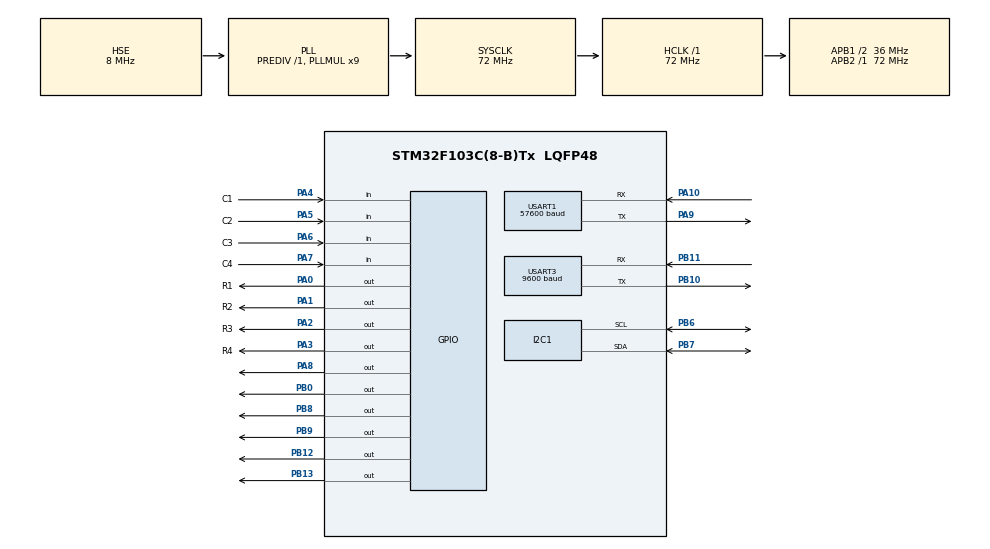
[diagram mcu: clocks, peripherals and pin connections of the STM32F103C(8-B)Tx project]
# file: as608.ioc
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Mcu.Family=STM32F1
Mcu.Name=STM32F103C(8-B)Tx
Mcu.Package=LQFP48
NVIC.PriorityGroup=NVIC_PRIORITYGROUP_4
NVIC.USART1_IRQn=true\:0\:0\:false\:false\:true\:true\:true\:true
PA0-WKUP.GPIO_Label=R1
PA0-WKUP.Signal=GPIO_Output
PA1.GPIO_Label=R2
PA1.Signal=GPIO_Output
PA10.Mode=Asynchronous
PA10.Signal=USART1_RX
PA13.Mode=Serial_Wire
PA13.Signal=SYS_JTMS-SWDIO
PA14.Mode=Serial_Wire
PA14.Signal=SYS_JTCK-SWCLK
PA2.GPIO_Label=R3
PA2.Signal=GPIO_Output
PA3.GPIO_Label=R4
PA3.Signal=GPIO_Output
PA4.GPIO_Label=C1
PA4.GPIO_PuPd=GPIO_PULLUP
PA4.Signal=GPIO_Input
PA5.GPIO_Label=C2
PA5.GPIO_PuPd=GPIO_PULLUP
PA5.Signal=GPIO_Input
PA6.GPIO_Label=C3
PA6.GPIO_PuPd=GPIO_PULLUP
PA6.Signal=GPIO_Input
PA7.GPIO_Label=C4
PA7.GPIO_PuPd=GPIO_PULLUP
PA7.Signal=GPIO_Input
PA8.Signal=GPIO_Output
PA9.Mode=Asynchronous
PA9.Signal=USART1_TX
PB0.Signal=GPIO_Output
PB10.Mode=Asynchronous
PB10.Signal=USART3_TX
PB11.Mode=Asynchronous
PB11.Signal=USART3_RX
PB12.Signal=GPIO_Output
PB13.Signal=GPIO_Output
PB6.Mode=I2C
PB6.Signal=I2C1_SCL
PB7.Mode=I2C
PB7.Signal=I2C1_SDA
PB8.Signal=GPIO_Output
PB9.Signal=GPIO_Output
PD0-OSC_IN.Mode=HSE-External-Oscillator
PD0-OSC_IN.Signal=RCC_OSC_IN
PD1-OSC_OUT.Mode=HSE-External-Oscillator
PD1-OSC_OUT.Signal=RCC_OSC_OUT
ProjectManager.HeapSize=0x200
ProjectManager.StackSize=0x400
ProjectManager.TargetToolchain=STM32CubeIDE
RCC.AHBFreq_Value=72000000
RCC.APB1CLKDivider=RCC_HCLK_DIV2
RCC.APB1Freq_Value=36000000
RCC.APB1TimFreq_Value=72000000
RCC.APB2Freq_Value=72000000
RCC.APB2TimFreq_Value=72000000
RCC.HCLKFreq_Value=72000000
RCC.PLLMUL=RCC_PLL_MUL9
RCC.PLLSourceVirtual=RCC_PLLSOURCE_HSE
RCC.SYSCLKFreq_VALUE=72000000
RCC.SYSCLKSource=RCC_SYSCLKSOURCE_PLLCLK
RCC.USBFreq_Value=72000000
USART1.BaudRate=57600
USART1.VirtualMode=VM_ASYNC
USART3.BaudRate=9600
USART3.VirtualMode=VM_ASYNC
VP_RTC_VS_RTC_Activate.Mode=RTC_Enabled
VP_RTC_VS_RTC_Calendar.Mode=RTC_Calendar
VP_TIM2_VS_ClockSourceINT.Mode=Internal
board=custom

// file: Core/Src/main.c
/* USER CODE BEGIN Header */
/**
  ******************************************************************************
  * @file           : main.c
  * @brief          : Main program body
  ******************************************************************************
  * @attention
  *
  * Copyright (c) 2026 STMicroelectronics.
  * All rights reserved.
  *
  * This software is licensed under terms that can be found in the LICENSE file
  * in the root directory of this software component.
  * If no LICENSE file comes with this software, it is provided AS-IS.
  *
  ******************************************************************************
  */
/* USER CODE END Header */
#include "main.h"
#include "i2c.h"
#include "rtc.h"
#include "tim.h"
#include "usart.h"
#include "gpio.h"

/* USER CODE BEGIN Includes */
#include "AS608.h"
#include "oled.h"
#include "key.h"
#include <string.h>
#include <stdio.h>

extern uint16_t MYRTC_Time[6];
extern void MYRTC_ReadTime(void);
extern void MYRTC_SetTime(void);
extern void OLED_ShowTime(void);

/* USER CODE END Includes */

/* USER CODE BEGIN PD */

#define AT24C32_ADDR    0x57
#define HAL_AT24C32_ADDR (AT24C32_ADDR << 1)
#define RECORD_COUNT_ADDR 0x0000// EEPROM地址0x0000存储记录数
#define RECORD_DATA_START 0x0002// 记录数据从地址0x0002开始存储，每条记录6字节（ID:2字节，时间戳:4字节）
#define DURATION_START_ADDR 0x0E00// EEPROM地址0x0E00开始存储累计时长，每个ID占4字节，支持最多512个ID的累计时长存储
#define BT_RX_BUF_SIZE 64

typedef struct {
    uint16_t id;
    uint32_t timestamp;  // 打卡时间戳(秒)
    uint8_t type;        // 打卡类型 0:上班 1:下班
} __attribute__((packed)) Record_t;

// 计算两次打卡的时间差
uint32_t CalculateTimeDifference(uint32_t check_in, uint32_t check_out) {

    if(check_in > check_out) return 0;

    // 防止溢出，如果差超过24小时(86400秒)则认为异常返回0
    uint32_t diff = check_out - check_in;
    return (diff > 86400) ? 0 : diff;
}

// 获取当前时间戳
uint32_t GetCurrentTimestamp(void) {
    return HAL_RTCEx_GetTimeStamp(&hrtc);
}

// 保存总时长到EEPROM
void SaveTotalDuration(uint16_t id, uint32_t duration)
{
    uint16_t addr = DURATION_START_ADDR + id * 4;
    uint8_t buf[4];

    buf[0] = (duration >> 24) & 0xFF;
    buf[1] = (duration >> 16) & 0xFF;
    buf[2] = (duration >> 8) & 0xFF;
    buf[3] = duration & 0xFF;

    HAL_I2C_Mem_Write(&hi2c1, HAL_AT24C32_ADDR, addr, I2C_MEMADD_SIZE_16BIT, buf, 4, 100);

    HAL_Delay(10);
}

// 从EEPROM读取总时长
uint32_t ReadTotalDuration(uint16_t id) {
    uint16_t addr = DURATION_START_ADDR + id * 4;
    uint8_t buf[4];

    HAL_I2C_Mem_Read(&hi2c1, HAL_AT24C32_ADDR, addr, I2C_MEMADD_SIZE_16BIT, buf, 4, 100);
    return (buf[0] << 24) | (buf[1] << 16) | (buf[2] << 8) | buf[3];
}

// 累计指纹ID的总工作时长
void AccumulateDuration(uint16_t id, uint32_t duration_seconds) {
    uint32_t current_total = 0;
    uint16_t addr = DURATION_START_ADDR + id * 4;

    // 读取现有的总时长
    uint8_t buf[4];
    HAL_I2C_Mem_Read(&hi2c1, HAL_AT24C32_ADDR, addr, I2C_MEMADD_SIZE_16BIT, buf, 4, 100);
    current_total = (buf[0] << 24) | (buf[1] << 16) | (buf[2] << 8) | buf[3];

    current_total += duration_seconds;

    buf[0] = (current_total >> 24) & 0xFF;
    buf[1] = (current_total >> 16) & 0xFF;
    buf[2] = (current_total >> 8) & 0xFF;
    buf[3] = current_total & 0xFF;

    for(uint8_t i=0; i<4; i++) {
        AT24C32_WriteByte(addr+i, buf[i]);
        HAL_Delay(5);
    }
}
/* USER CODE END PD */

/* USER CODE BEGIN PV */
SysPara AS608Para;                // 指纹模块参数
uint16_t ValidN;                   // 模块内有效模板个数
uint16_t recordCount = 0;          // EEPROM记录数

uint8_t aRxBuffer[RXBUFFERSIZE];   // AS608 接收缓冲区
uint8_t RX_len;                     // AS608 接收字节计数

uint8_t bt_rx_buf[BT_RX_BUF_SIZE]; // 蓝牙接收缓冲区
uint8_t bt_rx_len = 0;
uint8_t bt_rx_complete = 0;
uint8_t bt_rx_byte;

extern UART_HandleTypeDef huart3;  // 蓝牙串口句柄
/* USER CODE END PV */

void SystemClock_Config(void);
/* USER CODE BEGIN PFP */
void Menu_ShowMain(void);
void Process_AddFR(void);
void Process_DelFR(void);
void Process_ModName(void);
void Process_ListFR(void);
void Process_ChangePwd(void);
void Process_EmptyFR(void);
void Bluetooth_Init(void);
void Bluetooth_Process(void);
void Send_All_Ranks_To_Bluetooth(void);
void UI_DrawMenu(void);
void InitAdminPassword(void);
void Process_ResetTime(void);

// EEPROM 相关函数（若不需要可注释）
uint8_t AT24C32_ReadByte(uint16_t addr);
void AT24C32_WriteRecord(uint16_t index, Record_t *rec);
Record_t AT24C32_ReadRecord(uint16_t index);
uint8_t SaveRecord(uint16_t id);
uint8_t IsSameDay(uint32_t t1, uint32_t t2);
uint8_t AT24C32_Check(void);
void Send_Duration_To_Bluetooth(uint16_t id);
/* USER CODE END PFP */

/* USER CODE BEGIN 0 */

// AS608 空闲中断接收处理
// 这个函数在 USART1 的中断服务程序里被调用
// 只要 USART1 收到数据并触发空闲中断，就会调用
// 这个函数的设计原则是：一旦 USART1 收到数据并触发空闲中断，就立刻处理接收的数据，确保 AS608 的通信不会因为异常数据而死锁
// 这个函数的核心是：先清除空闲中断标志，再读取接收长度，最后重置接收状态，准备下一次接收
void UsartReceive_IDLE(UART_HandleTypeDef *huart)
{
  if (huart->Instance == USART1) {
    // 清除空闲中断标志
    // 关键：必须先清除标志，再读取接收长度，否则可能会死锁！
    __HAL_UART_CLEAR_IDLEFLAG(&huart1);

    RX_len = RXBUFFERSIZE - huart1.RxXferCount;

    HAL_UART_AbortReceive_IT(&huart1);

    HAL_UART_Receive_IT(&huart1, aRxBuffer, RXBUFFERSIZE);
  }
}

//  录指纹函数
void Add_FR(char *name)
{
  uint8_t i = 0, ensure, processnum = 0;
  uint16_t ID;

  while (1)
  {
    switch (processnum)
    {
      case 0:
        i++;
        OLED_Clear();
        OLED_ShowCHinese(18,0,0); // 指
        OLED_ShowCHinese(36,0,1); // 纹
        OLED_ShowCHinese(54,0,2); // 打
        OLED_ShowCHinese(72,0,3); // 卡
        OLED_ShowCHinese(90,0,4); // 机
        OLED_ShowTime();
        OLED_ShowCHinese(36,3,5); // 请
        OLED_ShowCHinese(52,3,6); // 按
        OLED_ShowCHinese(68,3,7); // 手
        OLED_ShowCHinese(84,3,8); // 指

        ensure = GZ_GetImage();
        if (ensure == 0x00)
        {
          ensure = GZ_GenChar(CharBuffer1);
          if (ensure == 0x00)
          {
            i = 0;
            processnum = 1;
          }
        }
        break;
      case 1:
        i++;
        OLED_Clear();
        OLED_ShowCHinese(18,0,0); // 指
        OLED_ShowCHinese(36,0,1); // 纹
        OLED_ShowCHinese(54,0,2); // 打
        OLED_ShowCHinese(72,0,3); // 卡
        OLED_ShowCHinese(90,0,4); // 机
        OLED_ShowTime();
        OLED_ShowCHinese(52,3,5); // 请
        OLED_ShowCHinese(68,3,6); // 按

        ensure = GZ_GetImage();
        if (ensure == 0x00) {
          ensure = GZ_GenChar(CharBuffer2);
          if (ensure == 0x00) {
            i = 0;
            processnum = 2;
          }
        }
        break;
      case 2:
        OLED_Clear();
        OLED_ShowCHinese(18,0,0); // 指
        OLED_ShowCHinese(36,0,1); // 纹
        OLED_ShowCHinese(54,0,2); // 打
        OLED_ShowCHinese(72,0,3); // 卡
        OLED_ShowCHinese(90,0,4); // 机
        OLED_ShowTime();
        OLED_ShowCHinese(36,3,21); // 匹
        OLED_ShowCHinese(52,3,22); // 配
        OLED_ShowCHinese(68,3,11); // 成
        OLED_ShowCHinese(84,3,12); // 功
        ensure = GZ_Match();
        if (ensure == 0x00) processnum = 3;
        else {
          i = 0;
          processnum = 0;
        }
        HAL_Delay(1000);
        break;
      case 3:
        OLED_Clear();
        OLED_ShowCHinese(18,0,0); // 指
        OLED_ShowCHinese(36,0,1); // 纹
        OLED_ShowCHinese(54,0,2); // 打
        OLED_ShowCHinese(72,0,3); // 卡
        OLED_ShowCHinese(90,0,4); // 机
        OLED_ShowCHinese(52,3,5); // 请
        OLED_ShowCHinese(68,3,35); // 稍
        OLED_ShowCHinese(68,3,36); // 等
        OLED_ShowTime();

        ensure = GZ_RegModel();
        if (ensure == 0x00) processnum = 4;
        else processnum = 0;
        HAL_Delay(1000);
        break;
      case 4:
        OLED_Clear();
        OLED_ShowCHinese(18,0,0); // 指
        OLED_ShowCHinese(36,0,1); // 纹
        OLED_ShowCHinese(54,0,2); // 打
        OLED_ShowCHinese(72,0,3); // 卡
        OLED_ShowCHinese(90,0,4); // 机
        OLED_ShowCHinese(52,3,5); // 请
        OLED_ShowCHinese(68,3,35); // 稍
        OLED_ShowCHinese(68,3,36); // 等
        OLED_ShowTime();

        ID = ValidN + 1;
        // 1. 先把指纹特征存进模块
        ensure = GZ_StoreChar(CharBuffer2, ID);
        if (ensure == 0x00)
        {
            // 存储名字到记事本
            if (ID <= 15)
            {

               HAL_Delay(300);

               uint8_t buf[32] = {0};
               uint8_t len = 0;
               while (name[len] != 0 && len < 31)
               {
                   buf[len] = name[len];
                    len++;
                }

                // 写记事本并获取结果
                uint8_t write_res = GZ_WriteNotepad(ID, buf);

                OLED_ShowCHinese(0,2,19); // 指
                OLED_ShowCHinese(16,2,20); // 纹
                OLED_ShowString(32, 2, (uint8_t*)"ID:");

                uint8_t digits = (ID >= 100) ? 3 : (ID >= 10 ? 2 : 1);
                OLED_ShowNum(60, 2, ID, digits, 16);

                if (write_res == 0x00)
                {
                  OLED_ShowCHinese(68,3,11); // 成
                  OLED_ShowCHinese(84,3,12); // 功
                } else
                {
                    OLED_ShowCHinese(52,3,23); // 错
                    OLED_ShowCHinese(68,3,24); // 误
                }

                HAL_Delay(2000);
             }

             OLED_Clear();
             OLED_ShowCHinese(36,3,9);  // 录
             OLED_ShowCHinese(52,3,10); // 入
             OLED_ShowCHinese(68,3,11); // 成
             OLED_ShowCHinese(84,3,12); // 功

             GZ_ValidTempleteNum(&ValidN);
             HAL_Delay(1000);
             OLED_Clear();
             return;
        }
        else
        {
            processnum = 0;
         }
         break;
      default: break;
    }

    HAL_Delay(800);

    if (i == 10)
    {
      OLED_ShowCHinese(36,3,13); // 录
      OLED_ShowCHinese(52,3,14); // 入
      OLED_ShowCHinese(68,3,15); // 超
      OLED_ShowCHinese(84,3,16); // 时
      HAL_Delay(1000);
      break;
    }
  }
}

//刷指纹函数
void press_FR(void)
{
  SearchResult seach;
  uint8_t ensure;

  OLED_ShowTime();

  ensure = GZ_GetImage();
  if (ensure == 0x00) {
    ensure = GZ_GenChar(CharBuffer1);
    if (ensure == 0x00) {
      ensure = GZ_HighSpeedSearch(CharBuffer1, 0, 300, &seach);
      if (ensure == 0x00) {
        if (seach.mathscore > 60) {
          uint8_t work_type = SaveRecord(seach.pageID);

          char name[32] = {0};
          if (seach.pageID <= 15) {
            GZ_ReadNotepad(seach.pageID, (uint8_t*)name);
            name[31] = 0;
            if (name[0] == 0xFF || name[0] == 0x00) {
                strcpy(name, "No Name");
            }
          } else {
            strcpy(name, "Unknown");
          }

          OLED_Clear();
          OLED_ShowCHinese(18,0,0);
          OLED_ShowCHinese(36,0,1);
          OLED_ShowCHinese(54,0,2);
          OLED_ShowCHinese(72,0,3);
          OLED_ShowCHinese(90,0,4);

          OLED_ShowCHinese(0,2,33); // 名
          OLED_ShowCHinese(16,2,34); // 字
          OLED_ShowString(33, 2, (uint8_t*)name);

          OLED_ShowCHinese(0,4,21); // 匹
          OLED_ShowCHinese(16,4,22); // 配
          OLED_ShowString(32, 4, (uint8_t*)"ID:");

          uint8_t digits = (seach.pageID >= 100) ? 3 : (seach.pageID >= 10 ? 2 : 1);
          OLED_ShowNum(60, 4, seach.pageID, digits, 16);

          if (work_type == 0) {
//              OLED_ShowString(90, 2, (uint8_t*)"Work");
              OLED_ShowCHinese(90,2,57); // 打
              OLED_ShowCHinese(106,2,58); // 卡
          } else {
//              OLED_ShowString(90, 2, (uint8_t*)"Off");
                OLED_ShowCHinese(90,4,59); // 退
                OLED_ShowCHinese(106,4,58); // 卡
          }

          OLED_ShowTime();
          HAL_Delay(2000);
        } else {
          // 分数太低
          OLED_Clear();
          OLED_ShowCHinese(18,0,0);
          OLED_ShowCHinese(36,0,1);
          OLED_ShowCHinese(54,0,2);
          OLED_ShowCHinese(72,0,3);
          OLED_ShowCHinese(90,0,4);
          OLED_ShowTime();
          OLED_ShowCHinese(52,3,23); // 错
          OLED_ShowCHinese(68,3,24); // 误
          HAL_Delay(1000);
        }
      } else {
        // 没搜到
        OLED_Clear();
        OLED_ShowCHinese(18,0,0);
        OLED_ShowCHinese(36,0,1);
        OLED_ShowCHinese(54,0,2);
        OLED_ShowCHinese(72,0,3);
        OLED_ShowCHinese(90,0,4);
        OLED_ShowTime();
        OLED_ShowCHinese(52,3,23); // 错
        OLED_ShowCHinese(68,3,24); // 误
        HAL_Delay(1000);
      }

      Menu_ShowMain();
    }
  }
}

//显示主界面
void Menu_ShowMain(void)
{
  OLED_Clear();
  OLED_ShowCHinese(18, 0, 0);
  OLED_ShowCHinese(36, 0, 1);
  OLED_ShowCHinese(54, 0, 2);
  OLED_ShowCHinese(72, 0, 3);
  OLED_ShowCHinese(90, 0, 4);

  OLED_ShowTime();
}

//  菜单系统与密码管理
uint8_t system_mode = 0; // 0: 待机打卡, 1: 菜单模式
uint8_t menu_cursor = 0;
uint8_t menu_offset = 0;

#define MENU_ITEM_COUNT 7
const char* menu_items[MENU_ITEM_COUNT] = {
    "1.Add User",
    "2.Del User",
    "3.Mod Name",
    "4.View List",
    "5.Change PWD",
    "6.Del All FR",
    "7.Reset Time"
};

char admin_pwd[7] = "123456";

// 初始化密码
void InitAdminPassword(void) {
    uint8_t is_valid = 1;

    for(int i = 0; i < 6; i++) {
        uint8_t c = AT24C32_ReadByte(0x0100 + i);
        if (c < '0' || c > '9') {
            is_valid = 0;
            break;
        }
    }

    if (!is_valid) {
        strcpy(admin_pwd, "123456");
        for(int i = 0; i < 6; i++) {
            AT24C32_WriteByte(0x0100 + i, admin_pwd[i]);
        }
    } else {

        for(int i = 0; i < 6; i++) {
            admin_pwd[i] = AT24C32_ReadByte(0x0100 + i);
        }
    }
    admin_pwd[6] = '\0';
}

// 菜单
void UI_DrawMenu(void) {

    OLED_ShowCHinese(48, 0, 55); //菜
    OLED_ShowCHinese(80, 0, 56);//单

    for(uint8_t i = 0; i < 3; i++) {
        uint8_t idx = menu_offset + i;
        if(idx < MENU_ITEM_COUNT) {
            if(idx == menu_cursor) OLED_ShowString(0, 2+i*2, (uint8_t*)"->");
            else OLED_ShowString(0, 2+i*2, (uint8_t*)"  ");

            char buf[15];
            sprintf(buf, "%-14s", menu_items[idx]);
            OLED_ShowString(16, 2+i*2, (uint8_t*)buf);
        } else {
            OLED_ShowString(0, 2+i*2, (uint8_t*)"                ");
        }
    }
}

// 1. 录入指纹
void Process_AddFR(void) {
    char name[32];
    if (InputName(name, 32)) Add_FR(name);
}

// 2. 按ID删除指纹
void Process_DelFR(void) {
    OLED_Clear();

    OLED_ShowCHinese(0, 0, 51); //想
    OLED_ShowCHinese(16, 0, 52); //要
    OLED_ShowCHinese(32, 0, 53); //删
    OLED_ShowCHinese(48, 0, 54);//除
    OLED_ShowString(0, 2, (uint8_t*)"(1-300)");
    uint16_t id = InputNumber(3, 0, 4);
    if (id != 0xFFFF && id >= 1 && id <= 300) {
        uint8_t res = GZ_DeletChar(id, 1);
        if (res == 0) {
            uint8_t zero[32] = {0};
            GZ_WriteNotepad(id, zero);
            GZ_ValidTempleteNum(&ValidN);
            OLED_Clear();
            OLED_ShowCHinese(16, 2, 11); // 成
            OLED_ShowCHinese(64, 2, 12); // 功
            HAL_Delay(1500);
        }
    }
}

// 3. 修改指纹名字
void Process_ModName(void) {
    OLED_Clear();

    OLED_ShowCHinese(0, 0, 37); //输
    OLED_ShowCHinese(16, 0, 38); //入
    OLED_ShowCHinese(32, 0, 33); //名
    OLED_ShowCHinese(48, 0, 34);//字
    OLED_ShowCHinese(64, 0, 48); //修
    OLED_ShowCHinese(80, 0, 49);//改
    OLED_ShowString(0, 2, (uint8_t*)"(1-15)");
    uint16_t id = InputNumber(3, 0, 4);
    if (id != 0xFFFF && id >= 1 && id <= 15) {
        uint8_t old_name[32] = {0};
        GZ_ReadNotepad(id, old_name);
        OLED_Clear();

        OLED_ShowCHinese(16, 0, 50); //旧
        OLED_ShowCHinese(32, 0, 33); //名
        OLED_ShowCHinese(48, 0, 34);//字
        OLED_ShowString(0, 2, old_name);
        HAL_Delay(1000);
        char new_name[32];
        if (InputName(new_name, 32)) {
            uint8_t buf[32] = {0};
            uint8_t len = 0;
            while (new_name[len] != 0 && len < 31) { buf[len] = new_name[len]; len++; }
            if (GZ_WriteNotepad(id, buf) == 0) {
                OLED_Clear();

                OLED_ShowCHinese(16, 2, 11); // 成
                OLED_ShowCHinese(64, 2, 12); // 功
                HAL_Delay(1500);
            }
        }
    }
}

// 4. 显示指纹列表
void Process_ListFR(void) {
    OLED_Clear();
    uint8_t page = 0;
    uint8_t totalPages = (ValidN + 2) / 3;
    if (totalPages == 0) totalPages = 1;
    while (1) {
        OLED_ShowCHinese(50, 0, 0); //指
        OLED_ShowCHinese(66, 0, 1); //纹
        OLED_ShowNum(100, 0, page+1, 1, 16);
        OLED_ShowChar(108, 0, '/');
        OLED_ShowNum(116, 0, totalPages, 1, 16);
        for (uint8_t i = 0; i < 3; i++) {
            uint8_t id = page*3 + i + 1;
            if (id > ValidN) {
                OLED_ShowString(0, 2 + i*2, (uint8_t*)"                "); // 补空行
                continue;
            }
            OLED_ShowNum(0, 2 + i*2, id, 2, 16);
            OLED_ShowChar(20, 2 + i*2, ':');
            char name[32] = {0};
            if (id <= 15) { GZ_ReadNotepad(id, (uint8_t*)name); name[31] = 0; }
            else strcpy(name, "<none>");
            char buf[12];
            sprintf(buf, "%-11s", name);
            OLED_ShowString(32, 2 + i*2, (uint8_t*)buf);
        }
        uint8_t key = Key_Scan();
        if (key == KEY_CANCEL) break;
        else if (key == KEY_UP && page > 0) page--;                 // 13 翻上一页
        else if (key == KEY_DOWN && page < totalPages-1) page++;    // 14 翻下一页
        HAL_Delay(100);
    }
}

// 5.修改管理员密码
void Process_ChangePwd(void) {
    char new_pwd[7];
    OLED_Clear();
    OLED_ShowCHinese(0, 0, 45); //新
    OLED_ShowCHinese(16, 0, 46); //密
    OLED_ShowCHinese(32, 0, 47); //码
    if (InputPassword(new_pwd, 7)) {
        for(int i = 0; i < 6; i++) {
            AT24C32_WriteByte(0x0100 + i, new_pwd[i]);
            admin_pwd[i] = new_pwd[i];
        }
        OLED_Clear();
        OLED_ShowCHinese(16, 2, 11); // 成
        OLED_ShowCHinese(64, 2, 12); // 功
        HAL_Delay(1500);
    }
}

// 6.清空所有数据
void Process_EmptyFR(void) {
    OLED_Clear();
    OLED_ShowCHinese(0, 0, 39); //是
    OLED_ShowCHinese(16, 0, 40); //否
    OLED_ShowCHinese(32, 0, 41); //清
    OLED_ShowCHinese(48, 0, 42);//除
    OLED_ShowCHinese(64, 0, 0); //指
    OLED_ShowCHinese(80, 0, 1); //纹
    OLED_ShowString(0, 2, (uint8_t*)"15:");
    OLED_ShowCHinese(40, 2, 39); //是
    OLED_ShowString(0, 4, (uint8_t*)"16:");
    OLED_ShowCHinese(40, 4, 40); //否
    while(1) {
        uint8_t key = Key_Scan();
        if (key == KEY_MENU_ENTER) { // 15
            OLED_Clear();
            OLED_ShowCHinese(16, 2, 35); // 稍
            OLED_ShowCHinese(64, 2, 36); // 等
            GZ_Empty();
            ValidN = 0;
            recordCount = 0;
            AT24C32_WriteByte(0x0000, 0);
            AT24C32_WriteByte(0x0001, 0);
            OLED_Clear();
            OLED_ShowCHinese(16, 2, 11); // 成
            OLED_ShowCHinese(64, 2, 12); // 功
            HAL_Delay(1500);
            break;
        } else if (key == KEY_MENU_EXIT) { // 16
            break;
        }
        HAL_Delay(50);
    }
}

// 7.每周重置
void Process_ResetTime(void) {
    OLED_Clear();

    OLED_ShowCHinese(0, 0, 39); //是
    OLED_ShowCHinese(16, 0, 40); //否
    OLED_ShowCHinese(32, 0, 41); //清
    OLED_ShowCHinese(48, 0, 42);//除
    OLED_ShowCHinese(64, 0, 43); //时
    OLED_ShowCHinese(80, 0, 44); //间
    OLED_ShowString(0, 2, (uint8_t*)"15:");
    OLED_ShowCHinese(40, 2, 39); //是
    OLED_ShowString(0, 4, (uint8_t*)"16:");
    OLED_ShowCHinese(40, 4, 40); //否

    while(1) {
        uint8_t key = Key_Scan();
        if (key == KEY_MENU_ENTER) { // 按下了 15 确认键
            OLED_Clear();

            OLED_ShowCHinese(16, 2, 35); // 稍
            OLED_ShowCHinese(64, 2, 36); // 等

            for (uint16_t i = 1; i <= 300; i++) {
                SaveTotalDuration(i, 0);
            }

            recordCount = 0;
            AT24C32_WriteByte(0x0000, 0);
            AT24C32_WriteByte(0x0001, 0);

            OLED_Clear();
            OLED_ShowCHinese(16, 2, 11); // 成
            OLED_ShowCHinese(64, 2, 12); // 功

            HAL_Delay(1500);
            break;
        } else if (key == KEY_MENU_EXIT) { // 按下了 16 取消键
            break;
        }
        HAL_Delay(50);
    }
}

//  EEPROM 底层驱动 (HAL 库重写)
uint8_t AT24C32_Check(void)
{
    if (HAL_I2C_IsDeviceReady(&hi2c1, HAL_AT24C32_ADDR, 3, 100) == HAL_OK) return 1;
    return 0;
}

uint8_t AT24C32_WriteByte(uint16_t addr, uint8_t data)
{
    HAL_StatusTypeDef res = HAL_I2C_Mem_Write(&hi2c1, HAL_AT24C32_ADDR, addr, I2C_MEMADD_SIZE_16BIT, &data, 1, 100);
    HAL_Delay(5);
    return (res == HAL_OK) ? 0 : 1;
}

uint8_t AT24C32_ReadByte(uint16_t addr)
{
    uint8_t data = 0;
    HAL_I2C_Mem_Read(&hi2c1, HAL_AT24C32_ADDR, addr, I2C_MEMADD_SIZE_16BIT, &data, 1, 100);
    return data;
}

void AT24C32_WriteRecord(uint16_t index, Record_t *rec)
{
    uint16_t addr = RECORD_DATA_START + index * sizeof(Record_t);
    uint8_t *p = (uint8_t*)rec;
    for (uint8_t i = 0; i < sizeof(Record_t); i++) {
        AT24C32_WriteByte(addr + i, p[i]);
    }
}

Record_t AT24C32_ReadRecord(uint16_t index)
{
    Record_t rec = {0};
    uint16_t addr = RECORD_DATA_START + index * sizeof(Record_t);
    HAL_I2C_Mem_Read(&hi2c1, HAL_AT24C32_ADDR, addr, I2C_MEMADD_SIZE_16BIT, (uint8_t*)&rec, sizeof(Record_t), 100);
    return rec;
}
//打卡记录
uint8_t SaveRecord(uint16_t id)
{
    if (recordCount >= 580) return 0;

    MYRTC_ReadTime();
    uint32_t current_time = MYRTC_Time[3] * 3600 + MYRTC_Time[4] * 60 + MYRTC_Time[5];
    uint8_t determined_type = 0;
    uint32_t last_check_in = 0;

    // 查找该指纹ID的最后一条记录
    if (recordCount > 0) {
        for (int16_t i = recordCount - 1; i >= 0; i--) {
            Record_t rec = AT24C32_ReadRecord(i);
            if (rec.id == id) {
                if(rec.type == 0) { // 找到最后一条上班记录
                    last_check_in = rec.timestamp;
                }
                determined_type = (rec.type == 0) ? 1 : 0;
                break;
            }
        }
    }

    // 如果上次是上班打卡且时间不为0，计算时长并累计
    if(determined_type == 1 && last_check_in != 0) {
        uint32_t duration = CalculateTimeDifference(last_check_in, current_time);
        if(duration > 0) {
            uint32_t total_duration = ReadTotalDuration(id);
            total_duration += duration;
            SaveTotalDuration(id, total_duration);

            Send_Duration_To_Bluetooth(id);
        }
    }

    Record_t rec;
    rec.id = id;
    rec.timestamp = current_time; // 使用RTC时间戳
    rec.type = determined_type;

    AT24C32_WriteRecord(recordCount, &rec);
    recordCount++;
    AT24C32_WriteByte(RECORD_COUNT_ADDR, recordCount & 0xFF);
    AT24C32_WriteByte(RECORD_COUNT_ADDR + 1, (recordCount >> 8) & 0xFF);

    return determined_type;
}

/* USER CODE END 0 */

int main(void)
{
  HAL_Init();
  SystemClock_Config();

  MX_GPIO_Init();
  MX_USART1_UART_Init();
  MX_RTC_Init();
  MX_I2C1_Init();
  MX_TIM2_Init();
  MX_USART3_UART_Init();

  /* USER CODE BEGIN 2 */

  Bluetooth_Init();

  if (HAL_UART_Receive_IT(&huart1, aRxBuffer, RXBUFFERSIZE) != HAL_OK) {
    Error_Handler();
  }
  __HAL_UART_ENABLE_IT(&huart1, UART_IT_IDLE);

  OLED_Init();
  OLED_Clear();

  while (GZ_HandShake(&AS608Addr)) {
    HAL_Delay(1000);
  }

  HAL_Delay(100);
  GZ_ValidTempleteNum(&ValidN);
  GZ_ReadSysPara(&AS608Para);

  if (AT24C32_Check()) {
      uint8_t low = AT24C32_ReadByte(RECORD_COUNT_ADDR);
      uint8_t high = AT24C32_ReadByte(RECORD_COUNT_ADDR + 1);
      recordCount = (high << 8) | low;
      if (recordCount > 1000) recordCount = 0;
  } else {
      recordCount = 0;
  }

  // 初始化密码缓存
  InitAdminPassword();

  Menu_ShowMain();

  /* USER CODE END 2 */

  /* Infinite loop */
  /* USER CODE BEGIN WHILE */
  while (1)
  {
    uint8_t key = Key_Scan();

    //模式 0：待机打卡模式

    if (system_mode == 0)
    {
        if (key == KEY_MENU_EXIT) // 16 键：申请进菜单
        {
            char input_pwd[7];
            if (InputPassword(input_pwd, 7))
            {
                if (strcmp(input_pwd, admin_pwd) == 0)
                {
                    system_mode = 1;
                    menu_cursor = 0;
                    menu_offset = 0;
                    OLED_Clear();
                    UI_DrawMenu();
                }
                else
                {
                    OLED_Clear();

                    OLED_ShowCHinese(16, 2, 23);
                    OLED_ShowCHinese(64, 3, 24); // 错误
                    HAL_Delay(1500);
                    Menu_ShowMain();
                }
            }
            else
            {
                Menu_ShowMain();
            }
        }
        else if (key == 0)
        {
            press_FR(); // 没按键时扫描指纹
        }
    }

    // 模式 1：后台管理菜单模式

    else if (system_mode == 1)
    {
        if (key != 0)
        {
            if (key == KEY_UP) // 13 上
            {
                if (menu_cursor > 0) menu_cursor--;
                if (menu_cursor < menu_offset) menu_offset = menu_cursor;
                UI_DrawMenu();
            }
            else if (key == KEY_DOWN) // 14 下
            {
                if (menu_cursor < MENU_ITEM_COUNT - 1) menu_cursor++;
                if (menu_cursor > menu_offset + 2) menu_offset = menu_cursor - 2;
                UI_DrawMenu();
            }
            else if (key == KEY_MENU_ENTER) // 15 确认进入功能
            {
                OLED_Clear();
                switch(menu_cursor) {
                    case 0: Process_AddFR(); break;
                    case 1: Process_DelFR(); break;
                    case 2: Process_ModName(); break;
                    case 3: Process_ListFR(); break;
                    case 4: Process_ChangePwd(); break;
                    case 5: Process_EmptyFR(); break;
                    case 6: Process_ResetTime(); break;
                }
                OLED_Clear();
                UI_DrawMenu();
            }
            else if (key == KEY_MENU_EXIT) // 16 退出菜单
            {
                system_mode = 0;
                Menu_ShowMain();
            }
        }
    }

    Bluetooth_Process();
    HAL_Delay(50);
  }
  /* USER CODE END WHILE */
}

void SystemClock_Config(void)
{
  RCC_OscInitTypeDef RCC_OscInitStruct = {0};
  RCC_ClkInitTypeDef RCC_ClkInitStruct = {0};
  RCC_PeriphCLKInitTypeDef PeriphClkInit = {0};

  RCC_OscInitStruct.OscillatorType = RCC_OSCILLATORTYPE_LSI|RCC_OSCILLATORTYPE_HSE;
  RCC_OscInitStruct.HSEState = RCC_HSE_ON;
  RCC_OscInitStruct.HSEPredivValue = RCC_HSE_PREDIV_DIV1;
  RCC_OscInitStruct.HSIState = RCC_HSI_ON;
  RCC_OscInitStruct.LSIState = RCC_LSI_ON;
  RCC_OscInitStruct.PLL.PLLState = RCC_PLL_ON;
  RCC_OscInitStruct.PLL.PLLSource = RCC_PLLSOURCE_HSE;
  RCC_OscInitStruct.PLL.PLLMUL = RCC_PLL_MUL9;
  if (HAL_RCC_OscConfig(&RCC_OscInitStruct) != HAL_OK) Error_Handler();

  RCC_ClkInitStruct.ClockType = RCC_CLOCKTYPE_HCLK|RCC_CLOCKTYPE_SYSCLK
                              |RCC_CLOCKTYPE_PCLK1|RCC_CLOCKTYPE_PCLK2;
  RCC_ClkInitStruct.SYSCLKSource = RCC_SYSCLKSOURCE_PLLCLK;
  RCC_ClkInitStruct.AHBCLKDivider = RCC_SYSCLK_DIV1;
  RCC_ClkInitStruct.APB1CLKDivider = RCC_HCLK_DIV2;
  RCC_ClkInitStruct.APB2CLKDivider = RCC_HCLK_DIV1;
  if (HAL_RCC_ClockConfig(&RCC_ClkInitStruct, FLASH_LATENCY_2) != HAL_OK) Error_Handler();

  PeriphClkInit.PeriphClockSelection = RCC_PERIPHCLK_RTC;
  PeriphClkInit.RTCClockSelection = RCC_RTCCLKSOURCE_LSI;
  if (HAL_RCCEx_PeriphCLKConfig(&PeriphClkInit) != HAL_OK) Error_Handler();
}

/* USER CODE BEGIN 4 */

//  蓝牙发送所有用户的累计时长
void Send_All_Ranks_To_Bluetooth(void)
{
    char buffer[50];
    uint32_t total_duration = 0;

    OLED_Clear();
    OLED_ShowCHinese(16, 2, 35); // 稍
    OLED_ShowCHinese(64, 2, 36); // 等

    for(uint16_t id = 1; id <= ValidN; id++)
    {

        total_duration = ReadTotalDuration(id);

        if(total_duration > 0 && total_duration != 0xFFFFFFFF)
        {
            sprintf(buffer, "USER:%02d,TOTAL:%lu\n", id, total_duration);
            HAL_UART_Transmit(&huart3, (uint8_t*)buffer, strlen(buffer), 100);
            HAL_Delay(50);
        }
    }

    OLED_Clear();
    OLED_ShowCHinese(16, 2, 11); // 成
    OLED_ShowCHinese(64, 2, 12); // 功
    HAL_Delay(1000);
}

void Send_Duration_To_Bluetooth(uint16_t id)
{
    char buffer[50];
    uint32_t total_duration = 0;

    // 第一步：直接调用你写好的读取工具，它会自动去 0xAE 地址拿数据，并拼好字节
    total_duration = ReadTotalDuration(id);

    // 第二步：把拿到的数变成手机认得的字符串
    // 注意这里最后一定要带 \n，那是给手机的“句号”
    sprintf(buffer, "USER:%02d,TOTAL:%lu\n", id, total_duration);

    // 第三步：通过 huart3（蓝牙）发出去
    HAL_UART_Transmit(&huart3, (uint8_t*)buffer, strlen(buffer), 100);
}

/* USER CODE END 4 */

void Error_Handler(void)
{
  while (1) {}
}
